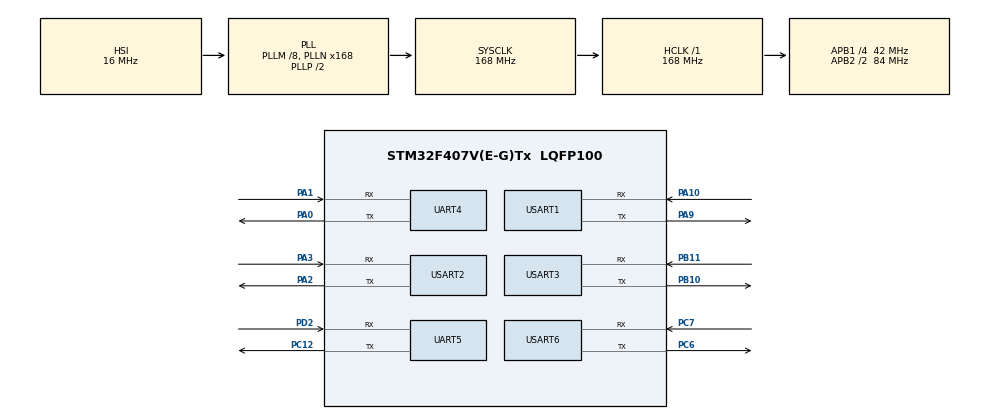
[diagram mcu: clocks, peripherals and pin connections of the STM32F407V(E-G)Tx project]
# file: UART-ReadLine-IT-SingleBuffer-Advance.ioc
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Mcu.Family=STM32F4
Mcu.Name=STM32F407V(E-G)Tx
Mcu.Package=LQFP100
NVIC.PriorityGroup=NVIC_PRIORITYGROUP_4
NVIC.UART4_IRQn=true\:0\:0\:false\:false\:true\:true\:true
NVIC.UART5_IRQn=true\:0\:0\:false\:false\:true\:true\:true
NVIC.USART1_IRQn=true\:0\:0\:false\:false\:true\:true\:true
NVIC.USART2_IRQn=true\:0\:0\:false\:false\:true\:true\:true
NVIC.USART3_IRQn=true\:0\:0\:false\:false\:true\:true\:true
NVIC.USART6_IRQn=true\:0\:0\:false\:false\:true\:true\:true
PA0-WKUP.Mode=Asynchronous
PA0-WKUP.Signal=UART4_TX
PA1.Mode=Asynchronous
PA1.Signal=UART4_RX
PA10.Mode=Asynchronous
PA10.Signal=USART1_RX
PA2.Mode=Asynchronous
PA2.Signal=USART2_TX
PA3.Mode=Asynchronous
PA3.Signal=USART2_RX
PA9.Mode=Asynchronous
PA9.Signal=USART1_TX
PB10.Mode=Asynchronous
PB10.Signal=USART3_TX
PB11.Mode=Asynchronous
PB11.Signal=USART3_RX
PC12.Mode=Asynchronous
PC12.Signal=UART5_TX
PC6.Mode=Asynchronous
PC6.Signal=USART6_TX
PC7.Mode=Asynchronous
PC7.Signal=USART6_RX
PD2.Mode=Asynchronous
PD2.Signal=UART5_RX
ProjectManager.HeapSize=0x200
ProjectManager.StackSize=0x400
ProjectManager.TargetToolchain=MDK-ARM V5.27
RCC.48MHZClocksFreq_Value=84000000
RCC.AHBFreq_Value=168000000
RCC.APB1CLKDivider=RCC_HCLK_DIV4
RCC.APB1Freq_Value=42000000
RCC.APB1TimFreq_Value=84000000
RCC.APB2CLKDivider=RCC_HCLK_DIV2
RCC.APB2Freq_Value=84000000
RCC.APB2TimFreq_Value=168000000
RCC.CortexFreq_Value=168000000
RCC.HCLKFreq_Value=168000000
RCC.HSE_VALUE=25000000
RCC.HSI_VALUE=16000000
RCC.LSE_VALUE=32768
RCC.PLLM=8
RCC.PLLN=168
RCC.SYSCLKFreq_VALUE=168000000
RCC.SYSCLKSource=RCC_SYSCLKSOURCE_PLLCLK
RCC.VCOOutputFreq_Value=336000000
UART4.VirtualMode=Asynchronous
UART5.VirtualMode=Asynchronous
USART1.VirtualMode=VM_ASYNC
USART2.VirtualMode=VM_ASYNC
USART3.VirtualMode=VM_ASYNC
USART6.VirtualMode=VM_ASYNC
board=custom

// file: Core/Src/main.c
/* USER CODE BEGIN Header */
/**
  ******************************************************************************
  * @file           : main.c
  * @brief          : Main program body
  ******************************************************************************
  * @attention
  *
  * <h2><center>&copy; Copyright (c) 2023 STMicroelectronics.
  * All rights reserved.</center></h2>
  *
  * This software component is licensed by ST under BSD 3-Clause license,
  * the "License"; You may not use this file except in compliance with the
  * License. You may obtain a copy of the License at:
  *                        opensource.org/licenses/BSD-3-Clause
  *
  ******************************************************************************
  */
/* USER CODE END Header */
#include "main.h"
#include "usart.h"
#include "gpio.h"

/* USER CODE BEGIN PTD */
#define RX_BUF_SIZE     64

typedef struct {
  UART_HandleTypeDef* HUART;
  uint8_t             Buf[RX_BUF_SIZE];
  uint16_t            BufIndex;
  uint8_t             Temp;
  uint8_t             Flag;
} UART_SingleBuffer;
/* USER CODE END PTD */

/* USER CODE BEGIN PV */
static UART_SingleBuffer uart1RxBuf;
static UART_SingleBuffer uart2RxBuf;
static UART_SingleBuffer uart3RxBuf;
static UART_SingleBuffer uart4RxBuf;
static UART_SingleBuffer uart5RxBuf;
static UART_SingleBuffer uart6RxBuf;
/* USER CODE END PV */

void SystemClock_Config(void);
/* USER CODE BEGIN PFP */
void UART_SingleBuffer_init(UART_SingleBuffer* buf, UART_HandleTypeDef* huart);
void UART_SingleBuffer_process(UART_SingleBuffer* buf);
void UART_SingleBuffer_reset(UART_SingleBuffer* buf);
/* USER CODE END PFP */

int main(void)
{

  /* MCU Configuration--------------------------------------------------------*/

  /* Reset of all peripherals, Initializes the Flash interface and the Systick. */
  HAL_Init();

  /* Configure the system clock */
  SystemClock_Config();

  /* Initialize all configured peripherals */
  MX_GPIO_Init();
  MX_USART1_UART_Init();
  MX_UART4_Init();
  MX_UART5_Init();
  MX_USART2_UART_Init();
  MX_USART3_UART_Init();
  MX_USART6_UART_Init();

  /* Infinite loop */
  /* USER CODE BEGIN WHILE */
  UART_SingleBuffer_init(&uart1RxBuf, &huart1);
  UART_SingleBuffer_init(&uart2RxBuf, &huart2);
  UART_SingleBuffer_init(&uart3RxBuf, &huart3);
  UART_SingleBuffer_init(&uart4RxBuf, &huart4);
  UART_SingleBuffer_init(&uart5RxBuf, &huart5);
  UART_SingleBuffer_init(&uart6RxBuf, &huart6);
  while (1)
  {
    if (uart1RxBuf.Flag) {
      // Process
      HAL_UART_Transmit_IT(&huart1, uart1RxBuf.Buf, uart1RxBuf.BufIndex);
      // Reset varialbles
      UART_SingleBuffer_reset(&uart1RxBuf);
    }
    /* USER CODE END WHILE */

  }
}

void SystemClock_Config(void)
{
  RCC_OscInitTypeDef RCC_OscInitStruct = {0};
  RCC_ClkInitTypeDef RCC_ClkInitStruct = {0};

  /** Configure the main internal regulator output voltage
  */
  __HAL_RCC_PWR_CLK_ENABLE();
  __HAL_PWR_VOLTAGESCALING_CONFIG(PWR_REGULATOR_VOLTAGE_SCALE1);
  /** Initializes the RCC Oscillators according to the specified parameters
  * in the RCC_OscInitTypeDef structure.
  */
  RCC_OscInitStruct.OscillatorType = RCC_OSCILLATORTYPE_HSI;
  RCC_OscInitStruct.HSIState = RCC_HSI_ON;
  RCC_OscInitStruct.HSICalibrationValue = RCC_HSICALIBRATION_DEFAULT;
  RCC_OscInitStruct.PLL.PLLState = RCC_PLL_ON;
  RCC_OscInitStruct.PLL.PLLSource = RCC_PLLSOURCE_HSI;
  RCC_OscInitStruct.PLL.PLLM = 8;
  RCC_OscInitStruct.PLL.PLLN = 168;
  RCC_OscInitStruct.PLL.PLLP = RCC_PLLP_DIV2;
  RCC_OscInitStruct.PLL.PLLQ = 4;
  if (HAL_RCC_OscConfig(&RCC_OscInitStruct) != HAL_OK)
  {
    Error_Handler();
  }
  /** Initializes the CPU, AHB and APB buses clocks
  */
  RCC_ClkInitStruct.ClockType = RCC_CLOCKTYPE_HCLK|RCC_CLOCKTYPE_SYSCLK
                              |RCC_CLOCKTYPE_PCLK1|RCC_CLOCKTYPE_PCLK2;
  RCC_ClkInitStruct.SYSCLKSource = RCC_SYSCLKSOURCE_PLLCLK;
  RCC_ClkInitStruct.AHBCLKDivider = RCC_SYSCLK_DIV1;
  RCC_ClkInitStruct.APB1CLKDivider = RCC_HCLK_DIV4;
  RCC_ClkInitStruct.APB2CLKDivider = RCC_HCLK_DIV2;

  if (HAL_RCC_ClockConfig(&RCC_ClkInitStruct, FLASH_LATENCY_5) != HAL_OK)
  {
    Error_Handler();
  }
}

/* USER CODE BEGIN 4 */
void HAL_UART_RxCpltCallback(UART_HandleTypeDef* huart) {
  switch ((uint32_t) huart->Instance) {
    case USART1_BASE:
      UART_SingleBuffer_process(&uart1RxBuf);
      break;
    case USART2_BASE:
      UART_SingleBuffer_process(&uart2RxBuf);
      break;
    case USART3_BASE:
      UART_SingleBuffer_process(&uart3RxBuf);
      break;
    case UART4_BASE:
      UART_SingleBuffer_process(&uart4RxBuf);
      break;
    case UART5_BASE:
      UART_SingleBuffer_process(&uart5RxBuf);
      break;
    case USART6_BASE:
      UART_SingleBuffer_process(&uart6RxBuf);
      break;
    default:

      break;
  }
}

void UART_SingleBuffer_init(UART_SingleBuffer* buf, UART_HandleTypeDef* huart) {
  buf->HUART = huart;
  buf->BufIndex = 0;
  buf->Flag = 0;

  HAL_UART_Receive_IT(buf->HUART, &buf->Temp, sizeof(buf->Temp));
}
void UART_SingleBuffer_process(UART_SingleBuffer* buf) {
  // Store Byte into buffer
  buf->Buf[buf->BufIndex++] = buf->Temp;
  // Check for CRLF = "\r\n" = 0x0D 0x0A
  if (buf->BufIndex >= 2 &&
      buf->Temp == '\n'  &&
      buf->Buf[buf->BufIndex - 2] == '\r'
  ) {
    buf->Flag = 1;
  }
  // Receive Next Byte
  HAL_UART_Receive_IT(buf->HUART, &buf->Temp, sizeof(buf->Temp));
}
void UART_SingleBuffer_reset(UART_SingleBuffer* buf) {
  buf->Flag = 0;
  buf->BufIndex = 0;
}

/* USER CODE END 4 */

void Error_Handler(void)
{
  __disable_irq();
  while (1)
  {
  }
}

/************************ (C) COPYRIGHT STMicroelectronics *****END OF FILE****/
